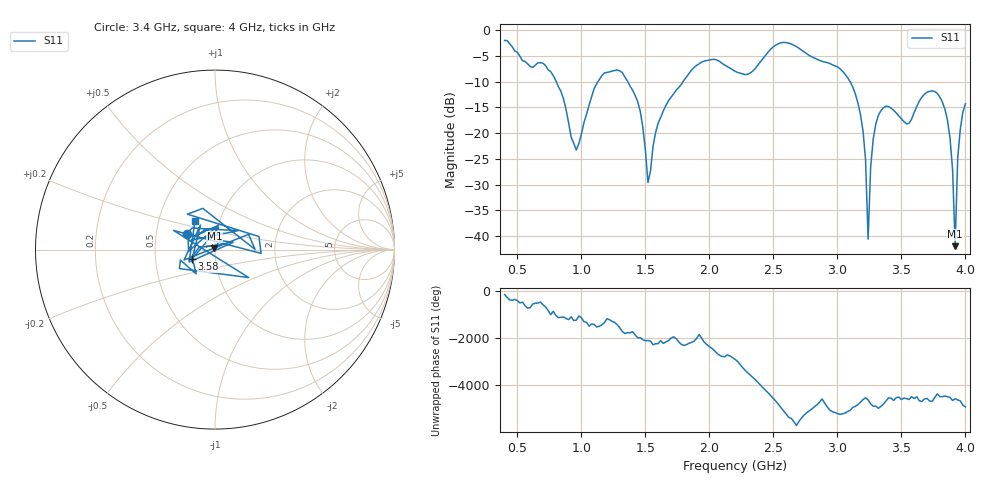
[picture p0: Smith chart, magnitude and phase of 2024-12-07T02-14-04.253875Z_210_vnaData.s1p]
!Created with skrf (http://scikit-rf.org).
# Hz S RI R 50.0
!freq ReS11 ImS11
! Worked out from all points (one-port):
!   181 points, 400 MHz to 4 GHz, reference 50 ohm
!   lowest |S11| = -42.0 dB at 3.92 GHz (marker M1), VSWR 1.02, Z = 49.7 + j0.725 ohm
!   |S11| at or under -10 dB: 804.2 MHz to 1.129 GHz (324.8 MHz wide, 33.6 % of centre); 1.363 GHz to 1.793 GHz (430.6 MHz wide, 27.3 % of centre); 3.1 GHz to end of sweep
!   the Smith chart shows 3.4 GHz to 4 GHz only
!   S11 on the Smith chart (normalised r, x): 3.4 GHz: 0.72, +0.13; 3.58 GHz: 0.77, -0.08; 4 GHz: 0.76, +0.25
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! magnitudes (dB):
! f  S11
! 400 MHz  -2.0
! 720 MHz  -6.8
! 860 MHz  -13.3
! 960 MHz  -23.3
! 1.12 GHz  -10.4
! 1.3 GHz  -7.9
! 1.46 GHz  -15.8
! 1.52 GHz  -29.6
! 1.6 GHz  -18.0
! 1.76 GHz  -11.1
! 1.96 GHz  -6.0
! 2.2 GHz  -7.9
! 2.66 GHz  -2.9
! 3.1 GHz  -10.0
! 3.2 GHz  -19.5
! 3.22 GHz  -25.1
! 3.24 GHz  -40.6
! 3.26 GHz  -26.5
! 3.28 GHz  -21.1
! 3.4 GHz  -14.8
! 3.56 GHz  -18.1
! 3.58 GHz  -17.2
! 3.72 GHz  -11.9
! 3.84 GHz  -15.3
! 3.9 GHz  -27.1
! 3.92 GHz  -42.0
! 3.94 GHz  -24.8
! 4 GHz  -14.3
